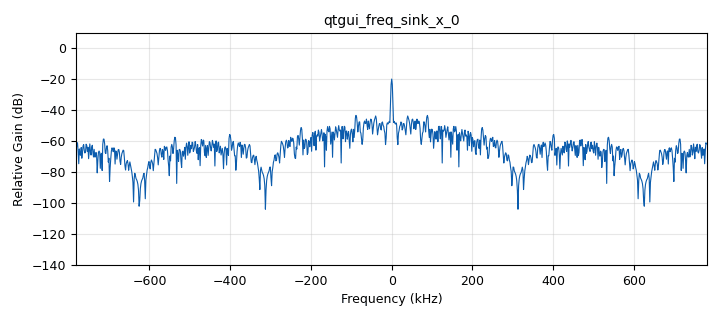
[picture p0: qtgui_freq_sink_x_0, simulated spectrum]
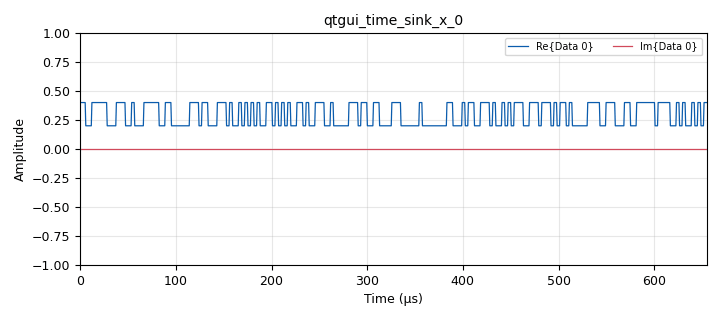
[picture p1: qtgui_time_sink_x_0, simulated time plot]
options:
  parameters:
    author: SEBASTIAN_MAGDA
    generate_options: qt_gui
    id: PARTEB
    output_language: python
    title: PARTEB
  states: {}

blocks:
- name: Ac
  id: variable_qtgui_range
  parameters:
    label: Amplitud de l aportadora
    start: '0'
    step: '1e-1'
    stop: '2'
    value: '0.2'
  states: {}
- name: Fc
  id: variable_qtgui_range
  parameters:
    label: frecuencia de portadora
    start: '50000000'
    step: '1000000'
    stop: '2200000000'
    value: '400000000'
  states: {}
- name: GTX
  id: variable_qtgui_range
  parameters:
    label: Ganancia del transmisor
    start: '0'
    step: '1'
    stop: '30'
    value: '0'
  states: {}
- name: Ka
  id: variable_qtgui_range
  parameters:
    label: coeficiente sensibilidad
    start: '0'
    step: '1e-1'
    stop: '2'
    value: '1'
  states: {}
- name: samp_rate_0
  id: variable
  parameters:
    value: 12500000/8
  states: {}
- name: analog_random_source_x_0
  id: analog_random_source_x
  parameters:
    max: '2'
    min: '0'
    num_samps: '100000'
    repeat: 'True'
    type: byte
  states: {}
- name: blocks_add_const_vxx_0
  id: blocks_add_const_vxx
  parameters:
    const: '1'
    type: float
  states: {}
- name: blocks_float_to_complex_0
  id: blocks_float_to_complex
  parameters: {}
  states: {}
- name: blocks_multiply_const_vxx_0
  id: blocks_multiply_const_vxx
  parameters:
    const: Ka
    type: float
  states: {}
- name: blocks_multiply_const_vxx_1
  id: blocks_multiply_const_vxx
  parameters:
    const: Ac
    type: complex
  states: {}
- name: blocks_null_source_0
  id: blocks_null_source
  parameters:
    type: float
  states: {}
- name: blocks_repeat_0
  id: blocks_repeat
  parameters:
    interp: '5'
    type: float
  states: {}
- name: blocks_uchar_to_float_0
  id: blocks_uchar_to_float
  parameters: {}
  states: {}
- name: qtgui_freq_sink_x_0
  id: qtgui_freq_sink_x
  parameters:
    bw: samp_rate_0
    fc: '0'
    fftsize: '1024'
    type: complex
  states: {}
- name: qtgui_time_sink_x_0
  id: qtgui_time_sink_x
  parameters:
    size: '1024'
    srate: samp_rate_0
    type: complex
  states: {}
- name: uhd_usrp_sink_0
  id: uhd_usrp_sink
  parameters:
    ant0: '"TX/RX"'
    center_freq0: Fc
    gain0: GTX
    samp_rate: samp_rate_0
    sync: pc_clock
    type: fc32
  states: {}

connections:
- [analog_random_source_x_0, '0', blocks_uchar_to_float_0, '0']
- [blocks_add_const_vxx_0, '0', blocks_float_to_complex_0, '0']
- [blocks_float_to_complex_0, '0', blocks_multiply_const_vxx_1, '0']
- [blocks_multiply_const_vxx_0, '0', blocks_add_const_vxx_0, '0']
- [blocks_multiply_const_vxx_1, '0', qtgui_freq_sink_x_0, '0']
- [blocks_multiply_const_vxx_1, '0', qtgui_time_sink_x_0, '0']
- [blocks_multiply_const_vxx_1, '0', uhd_usrp_sink_0, '0']
- [blocks_null_source_0, '0', blocks_float_to_complex_0, '1']
- [blocks_repeat_0, '0', blocks_multiply_const_vxx_0, '0']
- [blocks_uchar_to_float_0, '0', blocks_repeat_0, '0']

metadata:
  file_format: 1
  grc_version: 3.10.2.0
